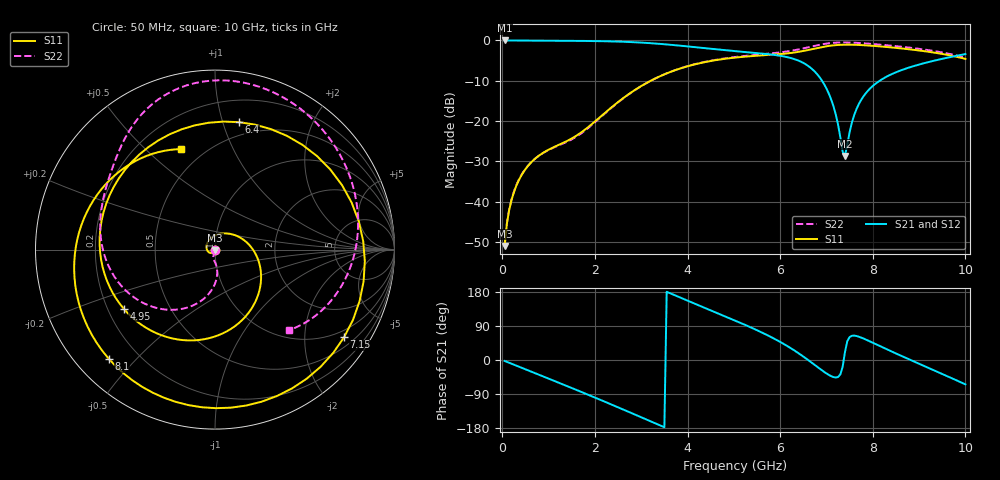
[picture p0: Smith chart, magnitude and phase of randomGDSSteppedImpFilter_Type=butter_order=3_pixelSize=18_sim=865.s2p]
! freq	dB(S11)	phase(S11)	dB(S12)	phase(S12)
!  dB(S21)	phase(S21)	dB(S22)	phase(S22)
!S-par simulation data
#  GHz  S  DB  R 50
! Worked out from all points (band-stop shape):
!   200 points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, 50 MHz to 10 GHz, reference 50 ohm
!   highest |S21| = 0.00 dB at 50 MHz (marker M1); lowest = -28.6 dB at 7.4 GHz (marker M2)
!   |S21| within 3 dB of the highest: start of sweep to 5.375 GHz
!   lowest |S11| = -51.0 dB at 50 MHz (marker M3), VSWR 1.01, Z = 50 - j0.281 ohm
!   |S11| at or under -10 dB: start of sweep to 3.205 GHz
!   |S22| runs from -51.0 to -0.5 dB; largest |S21 - S12| = 0
!   S11 on the Smith chart (normalised r, x): 50 MHz: 1.00, -0.01; 4.95 GHz: 0.27, -0.28; 6.4 GHz: 0.38, +1.13; 7.15 GHz: 0.77, -3.08; 8.1 GHz: 0.10, -0.42; 10 GHz: 0.38, +0.65
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0.05  -51.01 -88.9  -0.00 -2.5  -0.00 -2.5  -51.04 -84.4
0.2  -39.57 -104.3  -0.02 -9.9  -0.02 -9.9  -39.40 -92.6
0.45  -32.77 -126.0  -0.03 -22.1  -0.03 -22.1  -32.70 -98.8
1.15  -26.27 167.5  -0.07 -56.5  -0.07 -56.5  -26.39 -103.1
1.75  -22.44 94.5  -0.12 -86.4  -0.12 -86.4  -22.67 -89.0
2.5  -15.29 17.1  -0.28 -124.9  -0.28 -124.9  -15.37 -87.8
3.4  -8.91 -49.5  -0.85 -172.2  -0.85 -172.2  -8.90 -115.7
4.25  -5.68 -103.4  -1.77 143.8  -1.77 143.8  -5.62 -149.4
4.95  -4.35 -147.2  -2.56 108.1  -2.56 108.1  -4.22 -176.6
5.05  -4.23 -153.8  -2.67 102.9  -2.67 102.9  -4.08 179.7
5.8  -3.56 148.2  -3.49 60.8  -3.49 60.8  -3.22 153.2
6.1  -3.28 117.3  -4.02 40.8  -4.02 40.8  -2.81 143.2
6.4  -2.82 79.4  -5.03 17.6  -5.03 17.6  -2.22 132.9
6.7  -2.13 34.7  -7.20 -8.9  -7.20 -8.9  -1.45 120.6
6.95  -1.54 -4.4  -10.86 -31.4  -10.86 -31.4  -0.87 108.1
7.15  -1.22 -34.2  -16.29 -45.1  -16.29 -45.1  -0.59 97.0
7.4  -1.05 -67.1  -28.64 21.2  -28.64 21.2  -0.50 82.9
7.65  -1.10 -94.8  -16.99 63.3  -16.99 63.3  -0.59 69.3
8.1  -1.43 -134.2  -10.39 39.8  -10.39 39.8  -0.98 46.1
8.35  -1.68 -152.3  -8.68 25.6  -8.68 25.6  -1.25 33.6
9.05  -2.56 163.9  -5.82 -12.6  -5.82 -12.6  -2.16 -0.8
10  -4.58 108.5  -3.38 -64.3  -3.38 -64.3  -4.31 -47.5
